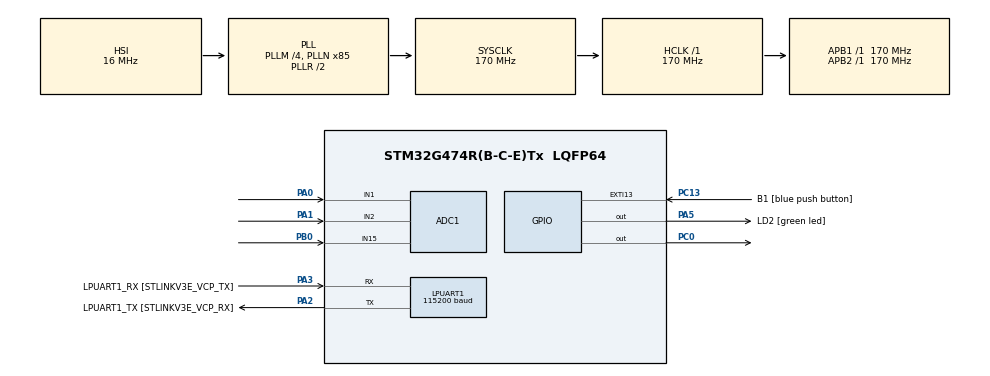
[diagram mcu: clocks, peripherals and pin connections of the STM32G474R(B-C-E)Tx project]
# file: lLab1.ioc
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ADC1.Channel-0\#ChannelRegularConversion=ADC_CHANNEL_1
ADC1.Channel-1\#ChannelRegularConversion=ADC_CHANNEL_2
ADC1.Channel-2\#ChannelRegularConversion=ADC_CHANNEL_15
ADC1.Channel-3\#ChannelRegularConversion=ADC_CHANNEL_TEMPSENSOR_ADC1
ADC1.ContinuousConvMode=ENABLE
ADC1.DMAContinuousRequests=ENABLE
ADC1.ExternalTrigConv=ADC_EXTERNALTRIG_T3_TRGO
ADC1.NbrOfConversion=4
ADC1.NbrOfConversionFlag=1
ADC1.OffsetNumber-0\#ChannelRegularConversion=ADC_OFFSET_NONE
ADC1.OffsetNumber-1\#ChannelRegularConversion=ADC_OFFSET_NONE
ADC1.OffsetNumber-2\#ChannelRegularConversion=ADC_OFFSET_NONE
ADC1.OffsetNumber-3\#ChannelRegularConversion=ADC_OFFSET_NONE
ADC1.Rank-0\#ChannelRegularConversion=1
ADC1.Rank-1\#ChannelRegularConversion=2
ADC1.Rank-2\#ChannelRegularConversion=3
ADC1.Rank-3\#ChannelRegularConversion=4
ADC1.SamplingTime-0\#ChannelRegularConversion=ADC_SAMPLETIME_640CYCLES_5
ADC1.SamplingTime-1\#ChannelRegularConversion=ADC_SAMPLETIME_640CYCLES_5
ADC1.SamplingTime-2\#ChannelRegularConversion=ADC_SAMPLETIME_640CYCLES_5
ADC1.SamplingTime-3\#ChannelRegularConversion=ADC_SAMPLETIME_640CYCLES_5
ADC1.master=1
Dma.ADC1.0.Direction=DMA_PERIPH_TO_MEMORY
Dma.ADC1.0.EventEnable=DISABLE
Dma.ADC1.0.Instance=DMA1_Channel1
Dma.ADC1.0.MemDataAlignment=DMA_MDATAALIGN_HALFWORD
Dma.ADC1.0.MemInc=DMA_MINC_ENABLE
Dma.ADC1.0.Mode=DMA_CIRCULAR
Dma.ADC1.0.PeriphDataAlignment=DMA_PDATAALIGN_HALFWORD
Dma.ADC1.0.PeriphInc=DMA_PINC_DISABLE
Dma.ADC1.0.Polarity=HAL_DMAMUX_REQ_GEN_RISING
Dma.ADC1.0.Priority=DMA_PRIORITY_LOW
Dma.ADC1.0.RequestNumber=1
Dma.ADC1.0.SignalID=NONE
Dma.ADC1.0.SyncEnable=DISABLE
Dma.ADC1.0.SyncPolarity=HAL_DMAMUX_SYNC_NO_EVENT
Dma.ADC1.0.SyncRequestNumber=1
Dma.ADC1.0.SyncSignalID=NONE
Dma.Request0=ADC1
LPUART1.BaudRate=115200
LPUART1.WordLength=UART_WORDLENGTH_8B
Mcu.Family=STM32G4
Mcu.Name=STM32G474R(B-C-E)Tx
Mcu.Package=LQFP64
NVIC.DMA1_Channel1_IRQn=true\:0\:0\:false\:false\:true\:false\:true\:true
NVIC.EXTI15_10_IRQn=true\:0\:0\:false\:false\:true\:true\:true\:true
NVIC.PriorityGroup=NVIC_PRIORITYGROUP_4
NVIC.TIM3_IRQn=true\:0\:0\:false\:false\:true\:true\:true\:true
PA0.Mode=IN1-Single-Ended
PA0.Signal=ADC1_IN1
PA1.Mode=IN2-Single-Ended
PA1.Signal=ADC1_IN2
PA13.GPIO_Label=T_SWDIO
PA13.Mode=Serial_Wire
PA13.Signal=SYS_JTMS-SWDIO
PA14.GPIO_Label=T_SWCLK
PA14.Mode=Serial_Wire
PA14.Signal=SYS_JTCK-SWCLK
PA2.GPIO_Label=LPUART1_TX [STLINKV3E_VCP_RX]
PA2.Mode=Asynchronous
PA2.Signal=LPUART1_TX
PA3.GPIO_Label=LPUART1_RX [STLINKV3E_VCP_TX]
PA3.Mode=Asynchronous
PA3.Signal=LPUART1_RX
PA5.GPIO_Label=LD2 [green led]
PA5.Signal=GPIO_Output
PB0.Mode=IN15-Single-Ended
PB0.Signal=ADC1_IN15
PB3.GPIO_Label=T_SWO
PB3.Signal=SYS_JTDO-SWO
PC0.Signal=GPIO_Output
PC13.GPIO_Label=B1 [blue push button]
PC13.Signal=GPXTI13
PC14-OSC32_IN.Mode=LSE-External-Oscillator
PC14-OSC32_IN.Signal=RCC_OSC32_IN
PC15-OSC32_OUT.Mode=LSE-External-Oscillator
PC15-OSC32_OUT.Signal=RCC_OSC32_OUT
PF0-OSC_IN.Mode=HSE-External-Oscillator
PF0-OSC_IN.Signal=RCC_OSC_IN
PF1-OSC_OUT.Mode=HSE-External-Oscillator
PF1-OSC_OUT.Signal=RCC_OSC_OUT
ProjectManager.HeapSize=0x200
ProjectManager.StackSize=0x400
ProjectManager.TargetToolchain=STM32CubeIDE
RCC.ADC12Freq_Value=170000000
RCC.ADC345Freq_Value=170000000
RCC.AHBFreq_Value=170000000
RCC.APB1Freq_Value=170000000
RCC.APB1TimFreq_Value=170000000
RCC.APB2Freq_Value=170000000
RCC.APB2TimFreq_Value=170000000
RCC.CortexFreq_Value=170000000
RCC.EXTERNAL_CLOCK_VALUE=12288000
RCC.HCLKFreq_Value=170000000
RCC.HSE_VALUE=24000000
RCC.HSI48_VALUE=48000000
RCC.HSI_VALUE=16000000
RCC.PLLM=RCC_PLLM_DIV4
RCC.PLLN=85
RCC.RTCClockSelection=RCC_RTCCLKSOURCE_LSE
RCC.SYSCLKFreq_VALUE=170000000
RCC.SYSCLKSource=RCC_SYSCLKSOURCE_PLLCLK
RCC.USBFreq_Value=170000000
RCC.VCOOutputFreq_Value=340000000
TIM3.AutoReloadPreload=TIM_AUTORELOAD_PRELOAD_ENABLE
TIM3.PeriodNoDither=999
TIM3.Prescaler=16999
TIM3.TIM_MasterOutputTrigger=TIM_TRGO_UPDATE
VP_ADC1_TempSens_Input.Mode=IN-TempSens
VP_SYS_VS_DBSignals.Mode=DisableDeadBatterySignals
VP_TIM3_VS_ClockSourceINT.Mode=Internal
board=NUCLEO-G474RE

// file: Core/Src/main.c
/* USER CODE BEGIN Header */
/**
  ******************************************************************************
  * @file           : main.c
  * @brief          : Main program body
  ******************************************************************************
  * @attention
  *
  * Copyright (c) 2025 STMicroelectronics.
  * All rights reserved.
  *
  * This software is licensed under terms that can be found in the LICENSE file
  * in the root directory of this software component.
  * If no LICENSE file comes with this software, it is provided AS-IS.
  *
  ******************************************************************************
  */
/* USER CODE END Header */
#include "main.h"

ADC_HandleTypeDef hadc1;
DMA_HandleTypeDef hdma_adc1;

UART_HandleTypeDef hlpuart1;

TIM_HandleTypeDef htim3;

/* USER CODE BEGIN PV */
uint16_t ADCRawRead[40];
uint16_t ch1;
uint16_t ch2;
uint16_t ch15;
uint16_t cht;
uint16_t ch1avg;
uint16_t ch2avg;
uint16_t ch15avg;
uint16_t chtavg;
uint16_t r1temp;
uint16_t r2air;
uint16_t r3light;
uint16_t chtC;
uint16_t N;
uint16_t M;
uint16_t preN = 0;
uint16_t preM = 0;
uint8_t step;

/* USER CODE END PV */

void SystemClock_Config(void);
static void MX_GPIO_Init(void);
static void MX_DMA_Init(void);
static void MX_LPUART1_UART_Init(void);
static void MX_ADC1_Init(void);
static void MX_TIM3_Init(void);
/* USER CODE BEGIN PFP */
void ADCRead();
void UpdateSignal();

/* USER CODE END PFP */

int main(void)
{

  /* MCU Configuration--------------------------------------------------------*/

  /* Reset of all peripherals, Initializes the Flash interface and the Systick. */
  HAL_Init();

  /* Configure the system clock */
  SystemClock_Config();

  /* Initialize all configured peripherals */
  MX_GPIO_Init();
  MX_DMA_Init();
  MX_LPUART1_UART_Init();
  MX_ADC1_Init();
  MX_TIM3_Init();
  /* USER CODE BEGIN 2 */
  //HAL_TIM_Base_Start(&htim3);
  HAL_TIM_Base_Start_IT(&htim3);
  HAL_ADC_Start_DMA(&hadc1, ADCRawRead, 40);

  /* USER CODE END 2 */

  /* Infinite loop */
  while (1)
  {

    /* USER CODE BEGIN 3 */
	  ADCRead();
	  UpdateSignal();
  }
  /* USER CODE END 3 */
}

void SystemClock_Config(void)
{
  RCC_OscInitTypeDef RCC_OscInitStruct = {0};
  RCC_ClkInitTypeDef RCC_ClkInitStruct = {0};

  /** Configure the main internal regulator output voltage
  */
  HAL_PWREx_ControlVoltageScaling(PWR_REGULATOR_VOLTAGE_SCALE1_BOOST);

  /** Initializes the RCC Oscillators according to the specified parameters
  * in the RCC_OscInitTypeDef structure.
  */
  RCC_OscInitStruct.OscillatorType = RCC_OSCILLATORTYPE_HSI;
  RCC_OscInitStruct.HSIState = RCC_HSI_ON;
  RCC_OscInitStruct.HSICalibrationValue = RCC_HSICALIBRATION_DEFAULT;
  RCC_OscInitStruct.PLL.PLLState = RCC_PLL_ON;
  RCC_OscInitStruct.PLL.PLLSource = RCC_PLLSOURCE_HSI;
  RCC_OscInitStruct.PLL.PLLM = RCC_PLLM_DIV4;
  RCC_OscInitStruct.PLL.PLLN = 85;
  RCC_OscInitStruct.PLL.PLLP = RCC_PLLP_DIV2;
  RCC_OscInitStruct.PLL.PLLQ = RCC_PLLQ_DIV2;
  RCC_OscInitStruct.PLL.PLLR = RCC_PLLR_DIV2;
  if (HAL_RCC_OscConfig(&RCC_OscInitStruct) != HAL_OK)
  {
    Error_Handler();
  }

  /** Initializes the CPU, AHB and APB buses clocks
  */
  RCC_ClkInitStruct.ClockType = RCC_CLOCKTYPE_HCLK|RCC_CLOCKTYPE_SYSCLK
                              |RCC_CLOCKTYPE_PCLK1|RCC_CLOCKTYPE_PCLK2;
  RCC_ClkInitStruct.SYSCLKSource = RCC_SYSCLKSOURCE_PLLCLK;
  RCC_ClkInitStruct.AHBCLKDivider = RCC_SYSCLK_DIV1;
  RCC_ClkInitStruct.APB1CLKDivider = RCC_HCLK_DIV1;
  RCC_ClkInitStruct.APB2CLKDivider = RCC_HCLK_DIV1;

  if (HAL_RCC_ClockConfig(&RCC_ClkInitStruct, FLASH_LATENCY_4) != HAL_OK)
  {
    Error_Handler();
  }
}

static void MX_ADC1_Init(void)
{

  ADC_MultiModeTypeDef multimode = {0};
  ADC_ChannelConfTypeDef sConfig = {0};

  /** Common config
  */
  hadc1.Instance = ADC1;
  hadc1.Init.ClockPrescaler = ADC_CLOCK_SYNC_PCLK_DIV4;
  hadc1.Init.Resolution = ADC_RESOLUTION_12B;
  hadc1.Init.DataAlign = ADC_DATAALIGN_RIGHT;
  hadc1.Init.GainCompensation = 0;
  hadc1.Init.ScanConvMode = ADC_SCAN_ENABLE;
  hadc1.Init.EOCSelection = ADC_EOC_SINGLE_CONV;
  hadc1.Init.LowPowerAutoWait = DISABLE;
  hadc1.Init.ContinuousConvMode = ENABLE;
  hadc1.Init.NbrOfConversion = 4;
  hadc1.Init.DiscontinuousConvMode = DISABLE;
  hadc1.Init.ExternalTrigConv = ADC_EXTERNALTRIG_T3_TRGO;
  hadc1.Init.ExternalTrigConvEdge = ADC_EXTERNALTRIGCONVEDGE_RISING;
  hadc1.Init.DMAContinuousRequests = ENABLE;
  hadc1.Init.Overrun = ADC_OVR_DATA_PRESERVED;
  hadc1.Init.OversamplingMode = DISABLE;
  if (HAL_ADC_Init(&hadc1) != HAL_OK)
  {
    Error_Handler();
  }

  /** Configure the ADC multi-mode
  */
  multimode.Mode = ADC_MODE_INDEPENDENT;
  if (HAL_ADCEx_MultiModeConfigChannel(&hadc1, &multimode) != HAL_OK)
  {
    Error_Handler();
  }

  /** Configure Regular Channel
  */
  sConfig.Channel = ADC_CHANNEL_1;
  sConfig.Rank = ADC_REGULAR_RANK_1;
  sConfig.SamplingTime = ADC_SAMPLETIME_640CYCLES_5;
  sConfig.SingleDiff = ADC_SINGLE_ENDED;
  sConfig.OffsetNumber = ADC_OFFSET_NONE;
  sConfig.Offset = 0;
  if (HAL_ADC_ConfigChannel(&hadc1, &sConfig) != HAL_OK)
  {
    Error_Handler();
  }

  /** Configure Regular Channel
  */
  sConfig.Channel = ADC_CHANNEL_2;
  sConfig.Rank = ADC_REGULAR_RANK_2;
  if (HAL_ADC_ConfigChannel(&hadc1, &sConfig) != HAL_OK)
  {
    Error_Handler();
  }

  /** Configure Regular Channel
  */
  sConfig.Channel = ADC_CHANNEL_15;
  sConfig.Rank = ADC_REGULAR_RANK_3;
  if (HAL_ADC_ConfigChannel(&hadc1, &sConfig) != HAL_OK)
  {
    Error_Handler();
  }

  /** Configure Regular Channel
  */
  sConfig.Channel = ADC_CHANNEL_TEMPSENSOR_ADC1;
  sConfig.Rank = ADC_REGULAR_RANK_4;
  if (HAL_ADC_ConfigChannel(&hadc1, &sConfig) != HAL_OK)
  {
    Error_Handler();
  }

}

static void MX_LPUART1_UART_Init(void)
{

  hlpuart1.Instance = LPUART1;
  hlpuart1.Init.BaudRate = 115200;
  hlpuart1.Init.WordLength = UART_WORDLENGTH_8B;
  hlpuart1.Init.StopBits = UART_STOPBITS_1;
  hlpuart1.Init.Parity = UART_PARITY_NONE;
  hlpuart1.Init.Mode = UART_MODE_TX_RX;
  hlpuart1.Init.HwFlowCtl = UART_HWCONTROL_NONE;
  hlpuart1.Init.OneBitSampling = UART_ONE_BIT_SAMPLE_DISABLE;
  hlpuart1.Init.ClockPrescaler = UART_PRESCALER_DIV1;
  hlpuart1.AdvancedInit.AdvFeatureInit = UART_ADVFEATURE_NO_INIT;
  if (HAL_UART_Init(&hlpuart1) != HAL_OK)
  {
    Error_Handler();
  }
  if (HAL_UARTEx_SetTxFifoThreshold(&hlpuart1, UART_TXFIFO_THRESHOLD_1_8) != HAL_OK)
  {
    Error_Handler();
  }
  if (HAL_UARTEx_SetRxFifoThreshold(&hlpuart1, UART_RXFIFO_THRESHOLD_1_8) != HAL_OK)
  {
    Error_Handler();
  }
  if (HAL_UARTEx_DisableFifoMode(&hlpuart1) != HAL_OK)
  {
    Error_Handler();
  }

}

static void MX_TIM3_Init(void)
{

  TIM_ClockConfigTypeDef sClockSourceConfig = {0};
  TIM_MasterConfigTypeDef sMasterConfig = {0};

  htim3.Instance = TIM3;
  htim3.Init.Prescaler = 16999;
  htim3.Init.CounterMode = TIM_COUNTERMODE_UP;
  htim3.Init.Period = 999;
  htim3.Init.ClockDivision = TIM_CLOCKDIVISION_DIV1;
  htim3.Init.AutoReloadPreload = TIM_AUTORELOAD_PRELOAD_ENABLE;
  if (HAL_TIM_Base_Init(&htim3) != HAL_OK)
  {
    Error_Handler();
  }
  sClockSourceConfig.ClockSource = TIM_CLOCKSOURCE_INTERNAL;
  if (HAL_TIM_ConfigClockSource(&htim3, &sClockSourceConfig) != HAL_OK)
  {
    Error_Handler();
  }
  sMasterConfig.MasterOutputTrigger = TIM_TRGO_UPDATE;
  sMasterConfig.MasterSlaveMode = TIM_MASTERSLAVEMODE_DISABLE;
  if (HAL_TIMEx_MasterConfigSynchronization(&htim3, &sMasterConfig) != HAL_OK)
  {
    Error_Handler();
  }

}

static void MX_DMA_Init(void)
{

  /* DMA controller clock enable */
  __HAL_RCC_DMAMUX1_CLK_ENABLE();
  __HAL_RCC_DMA1_CLK_ENABLE();

  /* DMA interrupt init */
  /* DMA1_Channel1_IRQn interrupt configuration */
  HAL_NVIC_SetPriority(DMA1_Channel1_IRQn, 0, 0);
  HAL_NVIC_EnableIRQ(DMA1_Channel1_IRQn);

}

static void MX_GPIO_Init(void)
{
  GPIO_InitTypeDef GPIO_InitStruct = {0};

  /* GPIO Ports Clock Enable */
  __HAL_RCC_GPIOC_CLK_ENABLE();
  __HAL_RCC_GPIOF_CLK_ENABLE();
  __HAL_RCC_GPIOA_CLK_ENABLE();
  __HAL_RCC_GPIOB_CLK_ENABLE();

  /*Configure GPIO pin Output Level */
  HAL_GPIO_WritePin(GPIOC, GPIO_PIN_0, GPIO_PIN_RESET);

  /*Configure GPIO pin Output Level */
  HAL_GPIO_WritePin(LD2_GPIO_Port, LD2_Pin, GPIO_PIN_RESET);

  /*Configure GPIO pin : B1_Pin */
  GPIO_InitStruct.Pin = B1_Pin;
  GPIO_InitStruct.Mode = GPIO_MODE_IT_RISING;
  GPIO_InitStruct.Pull = GPIO_NOPULL;
  HAL_GPIO_Init(B1_GPIO_Port, &GPIO_InitStruct);

  /*Configure GPIO pin : PC0 */
  GPIO_InitStruct.Pin = GPIO_PIN_0;
  GPIO_InitStruct.Mode = GPIO_MODE_OUTPUT_PP;
  GPIO_InitStruct.Pull = GPIO_NOPULL;
  GPIO_InitStruct.Speed = GPIO_SPEED_FREQ_LOW;
  HAL_GPIO_Init(GPIOC, &GPIO_InitStruct);

  /*Configure GPIO pin : LD2_Pin */
  GPIO_InitStruct.Pin = LD2_Pin;
  GPIO_InitStruct.Mode = GPIO_MODE_OUTPUT_PP;
  GPIO_InitStruct.Pull = GPIO_NOPULL;
  GPIO_InitStruct.Speed = GPIO_SPEED_FREQ_LOW;
  HAL_GPIO_Init(LD2_GPIO_Port, &GPIO_InitStruct);

  /* EXTI interrupt init*/
  HAL_NVIC_SetPriority(TIM3_IRQn, 0, 0);
  HAL_NVIC_EnableIRQ(TIM3_IRQn);

}

/* USER CODE BEGIN 4 */
void ADCRead(){
	ch1 = 0;
	ch2 = 0;
	ch15 = 0;
	cht = 0;
	for (int i = 0; i < 40; i++)
	{
		if (i % 4 == 0)
		{
			ch1 += ADCRawRead[i];
		}
		else if (i % 4 == 1)
		{
			ch2 += ADCRawRead[i];
		}
		else if (i % 4 == 2)
		{
			ch15 += ADCRawRead[i];
		}
		else if (i % 4 == 3)
		{
			cht += ADCRawRead[i];
		}
	}
	ch1avg = ch1/10.0;
	ch2avg = ch2/10.0;
	ch15avg = ch15/10.0;
	chtavg = cht/10.0;

	r1temp = 20.0+((ch1avg/4095.0)*20.0);
	r2air = (ch2avg/4095.0)*500.0;
	r3light = (ch15avg/4095.0)*2000.0;
	chtC = (chtavg*3.3/4095.0)*100.0;
}

void UpdateSignal(){
	N = r2air;
	M = r3light;
	if (N != preN || M != preM) {
		preN = N;
		preM = M;
		step = 0;
		__HAL_TIM_SET_AUTORELOAD(&htim3,100);
		__HAL_TIM_SET_COUNTER(&htim3,0);
		HAL_TIM_Base_Start_IT(&htim3);
	}
}

void HAL_TIM_PeriodElapsedCallback(TIM_HandleTypeDef *htim)
{
	if(htim == &htim3)
	{
		HAL_GPIO_TogglePin(GPIOA, GPIO_PIN_5);
		switch(step){
		case 0:
			HAL_GPIO_WritePin(GPIOC, GPIO_PIN_0, GPIO_PIN_RESET);
			__HAL_TIM_SET_AUTORELOAD(&htim3,100000);
			step = 1;
			break;
		case 1:
			HAL_GPIO_WritePin(GPIOC, GPIO_PIN_0, GPIO_PIN_SET);
			__HAL_TIM_SET_AUTORELOAD(&htim3,N+100);
			step = 2;
			break;
		case 2:
			HAL_GPIO_WritePin(GPIOC, GPIO_PIN_0, GPIO_PIN_RESET);
			__HAL_TIM_SET_AUTORELOAD(&htim3,M+100);
			step = 3;
			break;
		case 3:
			HAL_GPIO_WritePin(GPIOC, GPIO_PIN_0, GPIO_PIN_SET);
			HAL_TIM_Base_Stop_IT(&htim3);
			step = 0;
			break;
		}
		__HAL_TIM_SET_COUNTER(&htim3,0);
	}
}
/* USER CODE END 4 */

void Error_Handler(void)
{
  __disable_irq();
  while (1)
  {
  }
}
